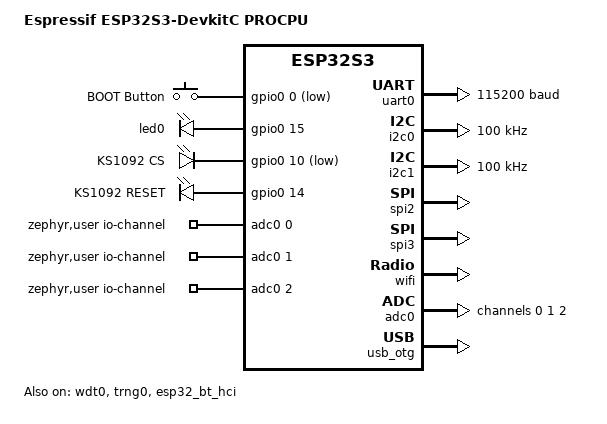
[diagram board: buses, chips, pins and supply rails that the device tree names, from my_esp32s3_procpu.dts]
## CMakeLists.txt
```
# SPDX-License-Identifier: Apache-2.0

cmake_minimum_required(VERSION 3.30.0)

# 指定自定义板子的搜索路径为当前应用目录下的 boards/
set(BOARD_ROOT ${CMAKE_CURRENT_SOURCE_DIR})

find_package(Zephyr REQUIRED HINTS $ENV{ZEPHYR_BASE})
project(bioelectrical)

target_sources(app PRIVATE
	src/main.c
	src/ble.c
	src/uart.c
	src/myspi.c
	src/KS1092.c
	src/iir_filter.c
	src/ksfilter.c
	src/heart_rate.c
	src/lvbo.c
	src/kalman_filter.c
	src/protocol_crc.c
)
```

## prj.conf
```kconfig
# KS1092 ECG application — Zephyr configuration
#
# Hardware drivers
CONFIG_GPIO=y
CONFIG_SPI=y
CONFIG_ADC=y
CONFIG_SERIAL=y
CONFIG_UART_CONSOLE=y

# Bluetooth (LE peripheral, ESP32-S3 controller)
CONFIG_BT=y
CONFIG_BT_PERIPHERAL=y
CONFIG_BT_DEVICE_NAME="BLE_EEG"
CONFIG_BT_MAX_CONN=1
CONFIG_BT_BUF_ACL_TX_SIZE=251

# 23 字节数据帧需要 ATT MTU >= 26（23 + 3 字节协议头）。
# 默认 RX/TX MTU 只有 23，必须调大并启用连接后自动 MTU 协商，
# 否则 ble_send_frame 会因 MTU 不足而拒绝发送（上位机无波形）。
CONFIG_BT_GATT_CLIENT=y
CONFIG_BT_GATT_AUTO_UPDATE_MTU=y
CONFIG_BT_L2CAP_TX_MTU=65
CONFIG_BT_BUF_ACL_RX_SIZE=70

# Logging
CONFIG_LOG=y
CONFIG_LOG_DEFAULT_LEVEL=3

# C library features (double/float printf, math)
CONFIG_NEWLIB_LIBC=y
CONFIG_FPU=y

# Heap (ESP32 BT controller needs extra memory pool)
CONFIG_HEAP_MEM_POOL_SIZE=40960
```

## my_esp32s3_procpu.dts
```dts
/*
 * Copyright (c) 2024-2025 Espressif Systems (Shanghai) Co., Ltd.
 *
 * SPDX-License-Identifier: Apache-2.0
 */
/dts-v1/;

#include <espressif/esp32s3/esp32s3_wroom_n8.dtsi>
#include <zephyr/dt-bindings/input/input-event-codes.h>
#include <zephyr/dt-bindings/input/esp32-touch-sensor-input.h>
#include <espressif/partitions_0x0_amp.dtsi>
#include "my_esp32s3-pinctrl.dtsi"

/ {
	model = "Espressif ESP32S3-DevkitC PROCPU";
	compatible = "espressif,esp32s3";

	aliases {
		i2c-0 = &i2c0;
		watchdog0 = &wdt0;
		uart-0 = &uart0;
		sw0 = &button0;
		led0 = &led0;
		ks1092-cs = &ks1092_cs;
		ks1092-reset = &ks1092_reset;
	};

	chosen {
		zephyr,sram = &sram1;
		/*
		 * 日志输出走物理 UART0(GPIO43/44)，即板子的 UART 串口；
		 * 与上位机数据透传共用同一口（原 ESP-IDF 版即如此）。
		 * 注：诊断时插 UART 口即可看日志。
		 */
		zephyr,console = &uart0;
		zephyr,shell-uart = &uart0;
		zephyr,flash = &flash0;
		zephyr,code-partition = &slot0_partition;
		zephyr,bt-hci = &esp32_bt_hci;
	};

	buttons {
		compatible = "gpio-keys";

		button0: button_0 {
			gpios = <&gpio0 0 (GPIO_PULL_UP | GPIO_ACTIVE_LOW)>;
			label = "BOOT Button";
			zephyr,code = <INPUT_KEY_0>;
		};
	};
	leds {
		compatible = "gpio-leds";

		led0: led_0 {
			gpios = <&gpio0 15 GPIO_ACTIVE_HIGH>;
		};
	};

	/*
	 * KS1092 生物电采集芯片的板级硬件定义。
	 *   CS    = GPIO10（低电平有效，应用手动控制）
	 *   RESET = GPIO14（高电平有效）
	 */
	ks1092_gpios {
		compatible = "gpio-leds";

		ks1092_cs: ks1092_cs_0 {
			gpios = <&gpio0 10 GPIO_ACTIVE_LOW>;
			label = "KS1092 CS";
		};

		ks1092_reset: ks1092_reset_0 {
			gpios = <&gpio0 14 GPIO_ACTIVE_HIGH>;
			label = "KS1092 RESET";
		};
	};

	/*
	 * 应用取用的 ADC 通道清单（SAR ADC1 = adc0）。
	 *   idx0 = CH1 (GPIO1), idx1 = CH2 (GPIO2), idx2 = 电池 (GPIO3)
	 */
	zephyr,user {
		io-channels = <&adc0 0>, <&adc0 1>, <&adc0 2>;
	};
};

&usb_serial {
	status = "disabled";
};

&uart0 {
	status = "okay";
	current-speed = <115200>;
	pinctrl-0 = <&uart0_default>;
	pinctrl-names = "default";
};

&gpio0 {
	status = "okay";
};

&gpio1 {
	status = "okay";
};

&touch {
	debounce-interval-ms = <30>;
	href-microvolt = <2700000>;
	lref-microvolt = <500000>;
	href-atten-microvolt = <1000000>;
	filter-mode = <ESP32_TOUCH_FILTER_MODE_IIR_16>;
	filter-debounce-cnt = <1>;
	filter-noise-thr = <ESP32_TOUCH_FILTER_NOISE_THR_4_8TH>;
	filter-jitter-step = <4>;
	filter-smooth-level = <ESP32_TOUCH_FILTER_SMOOTH_MODE_IIR_2>;
};

&i2c0 {
	clock-frequency = <I2C_BITRATE_STANDARD>;
	pinctrl-0 = <&i2c0_default>;
	pinctrl-names = "default";
};

&i2c1 {
	clock-frequency = <I2C_BITRATE_STANDARD>;
	pinctrl-0 = <&i2c1_default>;
	pinctrl-names = "default";
};

&i2s0 {
	pinctrl-0 = <&i2s0_default>;
	pinctrl-names = "default";
};

&i2s1 {
	pinctrl-0 = <&i2s1_default>;
	pinctrl-names = "default";
};

&spi2 {
	#address-cells = <1>;
	#size-cells = <0>;
	status = "okay";
	pinctrl-0 = <&spim2_default>;
	pinctrl-names = "default";
};

&spi3 {
	#address-cells = <1>;
	#size-cells = <0>;
	status = "okay";
	pinctrl-0 = <&spim3_default>;
	pinctrl-names = "default";
};

&twai {
	pinctrl-0 = <&twai_default>;
	pinctrl-names = "default";
};

&timer0 {
	status = "disabled";
};

&timer1 {
	status = "disabled";
};

&timer2 {
	status = "disabled";
};

&timer3 {
	status = "disabled";
};

&wdt0 {
	status = "okay";
};

&trng0 {
	status = "okay";
};

&esp32_bt_hci {
	status = "okay";
};

&wifi {
	status = "okay";
};

/*
 * SAR ADC1（adc0）三通道，增益（衰减）与 ESP-IDF 版一致：
 *   ADC_ATTEN_DB_6  -> ADC_GAIN_1_2  （CH1/CH2 信号通道）
 *   ADC_ATTEN_DB_12 -> ADC_GAIN_1_4  （电池通道）
 */
&adc0 {
	status = "okay";
	#address-cells = <1>;
	#size-cells = <0>;

	channel@0 {
		reg = <0>;
		zephyr,gain = "ADC_GAIN_1_2";
		zephyr,reference = "ADC_REF_INTERNAL";
		zephyr,acquisition-time = <ADC_ACQ_TIME_DEFAULT>;
		zephyr,resolution = <12>;
	};

	channel@1 {
		reg = <1>;
		zephyr,gain = "ADC_GAIN_1_2";
		zephyr,reference = "ADC_REF_INTERNAL";
		zephyr,acquisition-time = <ADC_ACQ_TIME_DEFAULT>;
		zephyr,resolution = <12>;
	};

	channel@2 {
		reg = <2>;
		zephyr,gain = "ADC_GAIN_1_4";
		zephyr,reference = "ADC_REF_INTERNAL";
		zephyr,acquisition-time = <ADC_ACQ_TIME_DEFAULT>;
		zephyr,resolution = <12>;
	};
};

zephyr_udc0: &usb_otg {
	status = "okay";
};

zephyr_uhc0: &usb_otg {
	status = "okay";
};
```

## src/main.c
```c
#include <stdio.h>
#include <stdbool.h>
#include <stdint.h>
#include <limits.h>
#include <string.h>

#include <zephyr/kernel.h>
#include <zephyr/drivers/adc.h>
#include <zephyr/drivers/gpio.h>
#include <zephyr/logging/log.h>

#include "KS1092.h"
#include "ble.h"
#include "uart.h"
#include "heart_rate.h"
#include "iir_filter.h"
#include "ksfilter.h"
#include "lvbo.h"

LOG_MODULE_REGISTER(main, LOG_LEVEL_INF);

#define KS1092_CH1_CONFIG 0x20
#define KS1092_CH2_CONFIG 0x00
#define KS1092_POST_INIT_DELAY_MS 800

/* ADC1 channels: VO1 -> GPIO1/CH0, VO2 -> GPIO2/CH1, battery -> GPIO3/CH2. */
#define ADC_CH1 0
#define ADC_CH2 1
#define ADC_BATT 2
#define ADC_SIGNAL_OVERSAMPLE_COUNT 6
#define ADC_SIGNAL_OVERSAMPLE_FAST_COUNT 2
#define ADC_BATT_OVERSAMPLE_COUNT 4
#define ADC_SETTLE_DISCARD_COUNT 1
#define ADC_RAW_CLIP_LOW 20
#define ADC_RAW_CLIP_HIGH 4075
#define ADC_RAW_MAX 4095
#define SAMPLE_RATE_HZ 500
#define SEND_RAW_ADC_FOR_DEBUG 0
#define ECG_POST_SMOOTH_ENABLE 1
#define BATTERY_SAMPLE_INTERVAL_MS 1000
#define SAMPLE_STATS_INTERVAL_MS 5000
#define SAMPLE_TRANSPORT_QUEUE_LEN 64
#define SAMPLE_TASK_PRIORITY 10
#define TRANSPORT_TASK_PRIORITY 4

#define LO_WINDOW 50
#define LDF_LEAD_OFF_THRESHOLD_DB 35

#define SAMPLE_THREAD_STACK_SIZE 16384
#define TRANSPORT_THREAD_STACK_SIZE 4096

static volatile bool device_enabled = true;
static volatile uint8_t ch1_filter_enabled = 1;
static volatile uint8_t ch2_filter_enabled = 1;
static volatile uint8_t current_ch1_config = KS1092_CH1_CONFIG;
static volatile uint8_t current_ch2_config = KS1092_CH2_CONFIG;
static volatile uint32_t s_filter_generation = 0;

/* 开机/每次新连接后的第一条命令强制执行并重写KS寄存器：
 * 设备重置后芯片通道2默认是关闭的，必须收到一次寄存器写入才会打开；
 * 同一连接内后续重复的相同命令（保活）仍按需跳过，避免波形抖动。 */
static volatile bool s_force_apply_next_cmd = true;

void main_force_next_cmd(void)
{
	s_force_apply_next_cmd = true;
}

static const struct adc_dt_spec adc_ch1 =
	ADC_DT_SPEC_GET_BY_IDX(DT_PATH(zephyr_user), 0);
static const struct adc_dt_spec adc_ch2 =
	ADC_DT_SPEC_GET_BY_IDX(DT_PATH(zephyr_user), 1);
static const struct adc_dt_spec adc_batt =
	ADC_DT_SPEC_GET_BY_IDX(DT_PATH(zephyr_user), 2);

/* ADC 读取失败计数（用于诊断波形不稳定是否来自读取失败） */
static volatile uint32_t s_adc_err_ch1;
static volatile uint32_t s_adc_err_ch2;
static volatile uint32_t s_adc_err_batt;

static struct k_timer s_sample_timer;
static struct k_sem s_sample_sem;
static uint32_t current_sample_interval_us = 1000000 / SAMPLE_RATE_HZ;

static int avg_rate_list[5];
static int avg_rate = 0;
static int count_HR = 0;
static volatile uint8_t battery = 50;

static int lo_buf[LO_WINDOW];
static int lo_idx = 0;
static int lo_count = 0;

typedef struct {
	uint16_t ch1;
	uint16_t ch2;
	uint8_t heart_rate;
	uint8_t lead_off;
	uint8_t battery;
	uint32_t generation;
} sample_transport_item_t;

typedef struct {
	uint8_t ch1_config;
	uint8_t ch2_config;
	uint8_t ch1_filter;
	uint8_t ch2_filter;
	uint8_t enabled;
	uint32_t sample_interval_us;
	bool force_regs;
} sample_control_t;

typedef struct {
	double raw_avg;
	double mv;
	int raw_min;
	int raw_max;
	uint32_t clip_samples;
} adc_reading_t;

K_MSGQ_DEFINE(s_transport_queue, sizeof(sample_transport_item_t),
	      SAMPLE_TRANSPORT_QUEUE_LEN, 4);
K_MSGQ_DEFINE(s_control_queue, sizeof(sample_control_t), 1, 4);

K_KERNEL_STACK_DEFINE(sample_stack, SAMPLE_THREAD_STACK_SIZE);
K_KERNEL_STACK_DEFINE(transport_stack, TRANSPORT_THREAD_STACK_SIZE);
static struct k_thread sample_thread_data;
static struct k_thread transport_thread_data;

static const char *on_off_str(bool enabled)
{
	return enabled ? "ON" : "OFF";
}

static uint32_t cmd_sample_interval_us(uint8_t sample_rate_code, bool from_uart)
{
	if (from_uart) {
		switch (sample_rate_code) {
		case 0x01:
			return 4000;
		case 0x02:
			return 1000;
		case 0x00:
		default:
			return 2000;
		}
	} else {
		switch (sample_rate_code) {
		case 0x04:
			return 4000;
		case 0x01:
			return 1000;
		case 0x02:
		default:
			return 2000;
		}
	}
}

static uint32_t cmd_sample_rate_hz(uint8_t sample_rate_code, bool from_uart)
{
	return 1000000UL / cmd_sample_interval_us(sample_rate_code, from_uart);
}

static int signal_oversample_count(void)
{
	return current_sample_interval_us <= 1000
		       ? ADC_SIGNAL_OVERSAMPLE_FAST_COUNT
		       : ADC_SIGNAL_OVERSAMPLE_COUNT;
}

static const char *ks1092_ch1_gain_preset_str(uint8_t reg_value)
{
	switch (reg_value) {
	case 0x20: return "known preset: 9x * 40x = 360x";
	case 0x30: return "known preset: 9x * 60x = 540x";
	case 0x34: return "known preset: 9x * 80x = 720x";
	case 0x38: case 0x18: return "known preset: 9x * 120x = 1080x";
	case 0x3C: return "known preset: 9x * 160x = 1440x";
	case 0x22: return "known preset: 17x * 40x = 680x";
	case 0x32: return "known preset: 17x * 60x = 1020x";
	case 0x36: return "known preset: 17x * 80x = 1360x";
	case 0x3A: return "known preset: 17x * 120x = 2040x";
	case 0x3E: return "known preset: 17x * 160x = 2720x";
	default: return "custom/unknown preset; stage1 in {9x,17x}, stage2 in {40x,60x,80x,120x,160x}";
	}
}

static const char *ks1092_ch2_gain_preset_str(uint8_t reg_value)
{
	switch (reg_value) {
	case 0x00: return "known preset: 9x * 40x = 360x";
	case 0x10: return "known preset: 9x * 60x = 540x";
	case 0x14: return "known preset: 9x * 80x = 720x";
	case 0x18: return "known preset: 9x * 120x = 1080x";
	case 0x1C: return "known preset: 9x * 160x = 1440x";
	case 0x02: return "known preset: 17x * 40x = 680x";
	case 0x12: return "known preset: 17x * 60x = 1020x";
	case 0x16: return "known preset: 17x * 80x = 1360x";
	case 0x1A: return "known preset: 17x * 120x = 2040x";
	case 0x1E: return "known preset: 17x * 160x = 2720x";
	default: return "custom/unknown preset; stage1 in {9x,17x}, stage2 in {40x,60x,80x,120x,160x}";
	}
}

static void ks1092_write_channel_regs(uint8_t ch1_value, uint8_t ch2_value)
{
	KS1092_Write_Reg_Pair(ks1092_REG_ADDR_CH1SET, ch1_value,
			      ks1092_REG_ADDR_CH2SET, ch2_value);
}

static uint8_t detect_lead_off(int mv)
{
	lo_buf[lo_idx] = mv;
	lo_idx = (lo_idx + 1) % LO_WINDOW;
	if (lo_count < LO_WINDOW) {
		lo_count++;
	}

	if (lo_count < LO_WINDOW) {
		return 0;
	}

	int vmin = lo_buf[0];
	int vmax = lo_buf[0];
	for (int i = 1; i < lo_count; i++) {
		if (lo_buf[i] < vmin) vmin = lo_buf[i];
		if (lo_buf[i] > vmax) vmax = lo_buf[i];
	}

	int range = vmax - vmin;
	/* Full-scale millivolt value depends on the gain; approximate using the
	 * 1.1 V full scale with 12-bit resolution (adc_raw_to_millivolts_dt). */
	int signal_full_scale_mv = 1100;
	if (range < 20 || LDF((float)mv) < LDF_LEAD_OFF_THRESHOLD_DB) {
		return 1;
	}
	if (vmin <= 5 || vmax >= signal_full_scale_mv - 5) {
		return 1;
	}
	return 0;
}

static double ecg_post_smooth(double input, double state[2], bool *primed)
{
	if (!*primed) {
		state[0] = input;
		state[1] = input;
		*primed = true;
		return input;
	}

	double output = (input + 2.0 * state[0] + state[1]) / 4.0;
	state[1] = state[0];
	state[0] = input;
	return output;
}

static uint16_t encode_sample_voltage(double voltage)
{
	double scaled = voltage * 10000.0;
	if (scaled <= 0.0) {
		return 0;
	}
	if (scaled >= 65535.0) {
		return UINT16_MAX;
	}
	return (uint16_t)(scaled + 0.5);
}

static void sample_timer_cb(struct k_timer *timer)
{
	k_sem_give(&s_sample_sem);
}

static int read_adc_raw(const struct adc_dt_spec *spec)
{
	int16_t buf;
	struct adc_sequence seq = {
		.buffer = &buf,
		.buffer_size = sizeof(buf),
	};

	(void)adc_sequence_init_dt(spec, &seq);
	int err = adc_read_dt(spec, &seq);
	if (err < 0) {
		/* 统计 ADC 读取失败次数，用于区分"读取失败返回0"与"真实信号抖动" */
		if (spec == &adc_ch1) {
			s_adc_err_ch1++;
		} else if (spec == &adc_ch2) {
			s_adc_err_ch2++;
		} else {
			s_adc_err_batt++;
		}
		return 0;
	}
	return (int)buf;
}

static double adc_raw_to_mv(const struct adc_dt_spec *spec, int raw)
{
	/* Convert an explicit raw reading to millivolts using the channel's
	 * configured gain/reference, then scale to volts-compatible double. */
	int32_t mv = (int32_t)raw;
	int err = adc_raw_to_millivolts_dt(spec, &mv);
	if (err < 0) {
		/* Fallback: assume Vref = reference and 12-bit resolution. */
		return (double)raw * 1100.0 / ADC_RAW_MAX;
	}
	return (double)mv;
}

static void read_adc_averaged(const struct adc_dt_spec *spec,
			      int sample_count, adc_reading_t *reading)
{
	int64_t raw_sum = 0;
	int sample_count_safe = sample_count > 0 ? sample_count : 1;

	for (int i = 0; i < ADC_SETTLE_DISCARD_COUNT; i++) {
		(void)read_adc_raw(spec);
	}

	reading->raw_min = INT_MAX;
	reading->raw_max = INT_MIN;
	reading->clip_samples = 0;

	for (int i = 0; i < sample_count_safe; i++) {
		int raw = read_adc_raw(spec);
		raw_sum += raw;
		if (raw < reading->raw_min) reading->raw_min = raw;
		if (raw > reading->raw_max) reading->raw_max = raw;
		if (raw <= ADC_RAW_CLIP_LOW || raw >= ADC_RAW_CLIP_HIGH) {
			reading->clip_samples++;
		}
	}

	int64_t filtered_sum = raw_sum;
	int filtered_count = sample_count_safe;
	if (sample_count_safe >= 4) {
		filtered_sum -= reading->raw_min;
		filtered_sum -= reading->raw_max;
		filtered_count -= 2;
	}

	reading->raw_avg = (double)filtered_sum / filtered_count;
	reading->mv = adc_raw_to_mv(spec, (int)reading->raw_avg);
}

static void init_adc(void)
{
	if (!adc_is_ready_dt(&adc_ch1) || !adc_is_ready_dt(&adc_ch2) ||
	    !adc_is_ready_dt(&adc_batt)) {
		LOG_ERR("ADC controller not ready");
		return;
	}

	adc_channel_setup_dt(&adc_ch1);
	adc_channel_setup_dt(&adc_ch2);
	adc_channel_setup_dt(&adc_batt);
	LOG_INF("ADC initialized (CH1/CH2/CH_BATT)");
}

static void init_sample_timer(void)
{
	current_sample_interval_us = 1000000 / SAMPLE_RATE_HZ;
	k_timer_init(&s_sample_timer, sample_timer_cb, NULL);
	k_timer_start(&s_sample_timer,
		      K_USEC(current_sample_interval_us),
		      K_USEC(current_sample_interval_us));
}

static bool init_ks1092(void)
{
	LOG_INF("Initializing KS1092...");
	KS1092_Init();

	ks1092_write_channel_regs(KS1092_CH1_CONFIG, KS1092_CH2_CONFIG);
	k_msleep(500);

	ks1092_write_channel_regs(KS1092_CH1_CONFIG, KS1092_CH2_CONFIG);
	current_ch1_config = KS1092_CH1_CONFIG;
	current_ch2_config = KS1092_CH2_CONFIG;

	LOG_INF("KS1092 initialized OK");
	return true;
}

static void update_battery_level(void)
{
	adc_reading_t batt_reading = {0};
	read_adc_averaged(&adc_batt, ADC_BATT_OVERSAMPLE_COUNT, &batt_reading);

	double battery_v = batt_reading.mv / 1000.0;
	if (battery_v < 1.3) {
		battery = 1;
	} else if (battery_v > 1.6) {
		battery = 100;
	} else {
		battery = (uint8_t)((battery_v - 1.3) * (100.0 / (1.6 - 1.3)) + 0.5);
	}
}

static void host_cmd_received(const uint8_t *cmd, int len, bool from_uart)
{
	if (len != 6) {
		return;
	}

	LOG_INF("%s CMD: CH1=0x%02X CH2=0x%02X SR=%d F1=%d F2=%d SW=%d",
		from_uart ? "UART" : "BLE",
		cmd[0], cmd[1], cmd[2], cmd[3], cmd[4], cmd[5]);
	LOG_INF("%s CMD decode: CH1SET=0x%02X (%s), CH2SET=0x%02X (%s), SR=%luHz, CH1 filter=%s, CH2 filter=%s, device=%s",
		from_uart ? "UART" : "BLE",
		cmd[0], ks1092_ch1_gain_preset_str(cmd[0]),
		cmd[1], ks1092_ch2_gain_preset_str(cmd[1]),
		(unsigned long)cmd_sample_rate_hz(cmd[2], from_uart),
		on_off_str(cmd[3] != 0x00),
		on_off_str(cmd[4] != 0x00),
		on_off_str(cmd[5] != 0x00));

	uint32_t sample_interval_us = cmd_sample_interval_us(cmd[2], from_uart);

	/* 上位机重复命令拦截的例外：开机或新连接后的第一条命令总是强制
	 * 执行——设备重置后通道2默认关闭，需要一次真实的寄存器写入才会
	 * 打开；此时命令与固件默认配置完全相同，不豁免就会被拦截。 */
	bool force_apply = s_force_apply_next_cmd;
	s_force_apply_next_cmd = false;

	/* 上位机（尤其串口模式）会周期性重发相同设置命令作为保活。设置与
	 * 当前完全一致时直接忽略：避免每次保活都重置滤波器、重启采样定时器，
	 * 在心电数据上留下周期性毛刺（会干扰HRV分析）。volatile 变量先取快照再比。 */
	uint8_t cur_ch1 = current_ch1_config;
	uint8_t cur_ch2 = current_ch2_config;
	uint32_t cur_interval = current_sample_interval_us;
	if (!force_apply &&
	    cmd[0] == cur_ch1 &&
	    cmd[1] == cur_ch2 &&
	    (cmd[3] != 0x00) == (ch1_filter_enabled != 0) &&
	    (cmd[4] != 0x00) == (ch2_filter_enabled != 0) &&
	    (cmd[5] != 0x00) == (device_enabled != 0) &&
	    sample_interval_us == cur_interval) {
		LOG_INF("CMD identical to current config, skipped (keepalive)");
		return;
	}

	sample_control_t control = {
		.ch1_config = cmd[0],
		.ch2_config = cmd[1],
		.ch1_filter = (cmd[3] != 0x00),
		.ch2_filter = (cmd[4] != 0x00),
		.enabled = (cmd[5] != 0x00),
		.sample_interval_us = sample_interval_us,
		.force_regs = force_apply,
	};

	k_msgq_put(&s_control_queue, &control, K_NO_WAIT);
	LOG_INF("CMD queued for the sampling task");
}

void ble_on_cmd_received(const uint8_t *cmd, int len)
{
	host_cmd_received(cmd, len, false);
}

void uart_on_cmd_received(const uint8_t *cmd, int len)
{
	host_cmd_received(cmd, len, true);
}

static void transport_thread(void *arg1, void *arg2, void *arg3)
{
	(void)arg1; (void)arg2; (void)arg3;

	uint16_t ch1_buf[4] = {0};
	uint16_t ch2_buf[4] = {0};
	int sample_idx = 0;
	uint32_t ble_send_failures = 0;
	uint32_t uart_samples = 0;
	uint32_t active_generation = UINT32_MAX;
	int64_t stats_start_ms = k_uptime_get();

	while (1) {
		sample_transport_item_t item = {0};
		if (k_msgq_get(&s_transport_queue, &item, K_MSEC(20)) != 0) {
			sample_idx = 0;
			continue;
		}

		if (!device_enabled) {
			sample_idx = 0;
			continue;
		}

		if (item.generation != active_generation) {
			sample_idx = 0;
			active_generation = item.generation;
		}

		if (uart_is_connected()) {
			sample_idx = 0;
			uart_send_sample_frame(item.ch1, item.ch2, item.heart_rate);
			uart_samples++;
		} else if (ble_is_connected()) {
			ch1_buf[sample_idx] = item.ch1;
			ch2_buf[sample_idx] = item.ch2;
			sample_idx++;

			if (sample_idx == 4) {
				if (!ble_send_frame(item.battery, ch1_buf, ch2_buf,
						    item.lead_off, item.heart_rate)) {
					ble_send_failures++;
				}
				sample_idx = 0;
			}
		} else {
			sample_idx = 0;
		}

		int64_t now_ms = k_uptime_get();
		if (now_ms - stats_start_ms >= SAMPLE_STATS_INTERVAL_MS) {
			LOG_INF("Transport stats: BLE notify failures=%lu UART samples=%lu",
				(unsigned long)ble_send_failures,
				(unsigned long)uart_samples);
			ble_send_failures = 0;
			uart_samples = 0;
			stats_start_ms = now_ms;
		}
	}
}

static void sample_thread(void *arg1, void *arg2, void *arg3)
{
	(void)arg1; (void)arg2; (void)arg3;

	double filter_out1 = 0;
	double filter_out2 = 0;
	double smooth_state1[2] = {0};
	double smooth_state2[2] = {0};
	bool smooth_primed1 = false;
	bool smooth_primed2 = false;
	uint32_t missed_ticks = 0;
	uint32_t queue_drops = 0;
	uint32_t clip_count1 = 0;
	uint32_t clip_count2 = 0;
	uint32_t isolated_low_bursts1 = 0;
	uint32_t rail_low_bursts1 = 0;
	uint32_t completed_samples = 0;
	int stats_raw_min1 = INT_MAX;
	int stats_raw_max1 = INT_MIN;
	int stats_raw_min2 = INT_MAX;
	int stats_raw_max2 = INT_MIN;
	int64_t last_sample_ms = 0;
	int64_t last_battery_ms = 0;
	int64_t stats_start_ms = k_uptime_get();

	LOG_INF("sample_thread started: VO1->GPIO1/ADC1_CH0, VO2->GPIO2/ADC1_CH1");

	while (1) {
		/* Wait for a sample tick. */
		k_sem_take(&s_sample_sem, K_FOREVER);
		int64_t sample_start_ms = k_uptime_get();

		sample_control_t control = {0};
		if (k_msgq_get(&s_control_queue, &control, K_NO_WAIT) == 0) {
			/* 按需选择性应用（与ESP-IDF版保持一致）：
			 * - 未变化的通道不动它的滤波状态（波形不抖）；
			 * - 采样率未变就不重启定时器（本tick继续采样，无断点）；
			 * - 增益未变就不重写SPI寄存器；
			 * - 与当前配置完全一致的命令已在 host_cmd_received 拦截。 */
			bool rate_changed = (control.sample_interval_us != current_sample_interval_us);
			bool ch1_gain_changed = (control.ch1_config != current_ch1_config);
			bool ch2_gain_changed = (control.ch2_config != current_ch2_config);
			bool ch1_changed = ch1_gain_changed || (control.ch1_filter != ch1_filter_enabled);
			bool ch2_changed = ch2_gain_changed || (control.ch2_filter != ch2_filter_enabled);
			bool any_filter_reset = rate_changed || ch1_changed || ch2_changed;

			if (rate_changed) {
				k_timer_stop(&s_sample_timer);
				/* drain any pending semaphore */
				while (k_sem_take(&s_sample_sem, K_NO_WAIT) == 0) {
				}
			}

			if (control.force_regs || ch1_gain_changed || ch2_gain_changed) {
				/* force_regs：连接后首条命令无条件重写，确保设备重置后
				 * 通道2被重新打开（即便增益值与固件默认一致） */
				ks1092_write_channel_regs(control.ch1_config, control.ch2_config);
			}
			current_ch1_config = control.ch1_config;
			current_ch2_config = control.ch2_config;
			ch1_filter_enabled = control.ch1_filter;
			ch2_filter_enabled = control.ch2_filter;
			device_enabled = control.enabled;

			if (rate_changed) {
				current_sample_interval_us = control.sample_interval_us;
				iir_filter_set_sample_rate(current_sample_interval_us);
				ksfilter_set_sample_rate(current_sample_interval_us);
				heart_rate_set_sample_rate(current_sample_interval_us);
			}
			if (ch1_changed || rate_changed) {
				/* 通道1相关：心率和脱落检测都基于通道1 */
				iir_filter_reset();
				ksfilter_reset();
				lvbo_reset();
				smooth_primed1 = false;
				memset(avg_rate_list, 0, sizeof(avg_rate_list));
				memset(lo_buf, 0, sizeof(lo_buf));
				avg_rate = 0;
				count_HR = 0;
				lo_idx = 0;
				lo_count = 0;
			}
			if (ch2_changed || rate_changed) {
				iir1_filter_reset();
				ksfilter1_reset();
				smooth_primed2 = false;
			}
			if (any_filter_reset) {
				s_filter_generation++;
				last_sample_ms = 0;
				k_msgq_purge(&s_transport_queue);
			}

			if (rate_changed) {
				k_timer_start(&s_sample_timer,
					      K_USEC(current_sample_interval_us),
					      K_USEC(current_sample_interval_us));
				LOG_INF("CMD applied (rate %luHz): filter1=%s filter2=%s device=%s",
					(unsigned long)(1000000UL / current_sample_interval_us),
					on_off_str(ch1_filter_enabled != 0),
					on_off_str(ch2_filter_enabled != 0),
					on_off_str(device_enabled));
				continue; /* 等新定时器的第一个tick */
			}
			LOG_INF("CMD applied (selective): changed[rate=%d ch1=%d ch2=%d] device=%s",
				(int)rate_changed, (int)ch1_changed, (int)ch2_changed,
				on_off_str(device_enabled));
			/* 采样率未变：本tick照常继续采样，无断点 */
		}

		adc_reading_t reading1 = {0};
		adc_reading_t reading2 = {0};
		int signal_samples = signal_oversample_count();
		read_adc_averaged(&adc_ch1, signal_samples, &reading1);
		read_adc_averaged(&adc_ch2, signal_samples, &reading2);

		clip_count1 += reading1.clip_samples;
		clip_count2 += reading2.clip_samples;
		if (reading1.raw_min <= ADC_RAW_CLIP_LOW) {
			if (reading1.raw_max > ADC_RAW_CLIP_LOW + 100) {
				isolated_low_bursts1++;
			} else {
				rail_low_bursts1++;
			}
		}
		if (reading1.raw_min < stats_raw_min1) stats_raw_min1 = reading1.raw_min;
		if (reading1.raw_max > stats_raw_max1) stats_raw_max1 = reading1.raw_max;
		if (reading2.raw_min < stats_raw_min2) stats_raw_min2 = reading2.raw_min;
		if (reading2.raw_max > stats_raw_max2) stats_raw_max2 = reading2.raw_max;

		double ad_v1 = reading1.mv / 1000.0;
		double ad_v2 = reading2.mv / 1000.0;

#if SEND_RAW_ADC_FOR_DEBUG
		filter_out1 = ad_v1;
		filter_out2 = ad_v2;
#else
		if (ch1_filter_enabled) {
			filter_out1 = filter(IIR_Filter1_All(ad_v1)) + 0.9;
		} else {
			filter_out1 = ad_v1;
		}

		if (ch2_filter_enabled) {
			filter_out2 = filter1(IIR1_Filter1_All(ad_v2)) + 0.9;
		} else {
			filter_out2 = ad_v2;
		}
#endif

#if ECG_POST_SMOOTH_ENABLE
		if (ch1_filter_enabled) {
			filter_out1 = ecg_post_smooth(filter_out1, smooth_state1, &smooth_primed1);
		} else {
			smooth_primed1 = false;
		}

		if (ch2_filter_enabled) {
			filter_out2 = ecg_post_smooth(filter_out2, smooth_state2, &smooth_primed2);
		} else {
			smooth_primed2 = false;
		}
#endif

		int now_rate = get_heart_rate((float)(filter_out1 * 1000.0));
		count_HR++;
		int heart_rate_window = (int)(1000000UL / current_sample_interval_us);
		if (count_HR >= heart_rate_window) {
			avg_rate_list[0] = avg_rate_list[1];
			avg_rate_list[1] = avg_rate_list[2];
			avg_rate_list[2] = avg_rate_list[3];
			avg_rate_list[3] = avg_rate_list[4];
			avg_rate_list[4] = now_rate;
			count_HR = 0;
			avg_rate = 0;
			for (int i = 0; i < 5; i++) {
				avg_rate += avg_rate_list[i];
			}
			avg_rate /= 5;
		}

		uint8_t lead_off = detect_lead_off((int)(reading1.mv + 0.5));

		int64_t now_ms = k_uptime_get();
		if (last_battery_ms == 0 ||
		    now_ms - last_battery_ms >= BATTERY_SAMPLE_INTERVAL_MS) {
			update_battery_level();
			last_battery_ms = now_ms;
		}

		if (device_enabled && (uart_is_connected() || ble_is_connected())) {
			sample_transport_item_t item = {
				.ch1 = encode_sample_voltage(filter_out1),
				.ch2 = encode_sample_voltage(filter_out2),
				.heart_rate = (uint8_t)avg_rate,
				.lead_off = lead_off,
				.battery = battery,
				.generation = s_filter_generation,
			};
			if (k_msgq_put(&s_transport_queue, &item, K_NO_WAIT) != 0) {
				queue_drops++;
			}
		}

		completed_samples++;

		now_ms = k_uptime_get();
		if (now_ms - stats_start_ms >= SAMPLE_STATS_INTERVAL_MS) {
			LOG_INF("Sample stats: done=%lu missed=%lu queue_drop=%lu clip1=%lu clip2=%lu low_outlier1=%lu low_rail1=%lu raw1=%d..%d raw2=%d..%d cfg=0x%02X/0x%02X gen=%lu adc_err1=%lu adc_err2=%lu",
				(unsigned long)completed_samples,
				(unsigned long)missed_ticks,
				(unsigned long)queue_drops,
				(unsigned long)clip_count1,
				(unsigned long)clip_count2,
				(unsigned long)isolated_low_bursts1,
				(unsigned long)rail_low_bursts1,
				stats_raw_min1, stats_raw_max1,
				stats_raw_min2, stats_raw_max2,
				(unsigned int)current_ch1_config,
				(unsigned int)current_ch2_config,
				(unsigned long)s_filter_generation,
				(unsigned long)s_adc_err_ch1,
				(unsigned long)s_adc_err_ch2);
			ble_dump_state();

			missed_ticks = 0;
			queue_drops = 0;
			clip_count1 = 0;
			clip_count2 = 0;
			isolated_low_bursts1 = 0;
			rail_low_bursts1 = 0;
			completed_samples = 0;
			stats_raw_min1 = INT_MAX;
			stats_raw_max1 = INT_MIN;
			stats_raw_min2 = INT_MAX;
			stats_raw_max2 = INT_MIN;
			stats_start_ms = now_ms;
		}

		(void)last_sample_ms;
		(void)sample_start_ms;
	}
}

int main(void)
{
	LOG_INF("System start");
	LOG_INF("ADC samples KS1092 analog outputs; BLE receives commands; SPI writes KS1092 registers");
	LOG_INF("Pins: SPI MOSI=GPIO%d MISO=GPIO%d SCK=GPIO%d CS=GPIO%d; ADC CH1=GPIO1/ADC%d CH2=GPIO2/ADC%d",
		SPI1_MOSI_PIN, SPI1_MISO_PIN, SPI1_SCK_PIN, 10, ADC_CH1, ADC_CH2);

	init_adc();

	if (!init_ks1092()) {
		LOG_ERR("KS1092 SPI control init failed, continuing ADC/BLE for debug");
	}

	k_msleep(KS1092_POST_INIT_DELAY_MS);

	iir_filter_set_sample_rate(current_sample_interval_us);
	ksfilter_set_sample_rate(current_sample_interval_us);
	heart_rate_set_sample_rate(current_sample_interval_us);

	k_sem_init(&s_sample_sem, 0, K_SEM_MAX_LIMIT);

	ble_init();
	uart_transport_init();

	LOG_INF("Sampling at %d Hz, ADC channels %d and %d", SAMPLE_RATE_HZ, ADC_CH1, ADC_CH2);

	k_thread_create(&transport_thread_data, transport_stack,
			K_KERNEL_STACK_SIZEOF(transport_stack),
			transport_thread, NULL, NULL, NULL,
			TRANSPORT_TASK_PRIORITY, 0, K_NO_WAIT);
	k_thread_create(&sample_thread_data, sample_stack,
			K_KERNEL_STACK_SIZEOF(sample_stack),
			sample_thread, NULL, NULL, NULL,
			SAMPLE_TASK_PRIORITY, 0, K_NO_WAIT);

	init_sample_timer();
	LOG_INF("Sampling at %d Hz, BLE advertising as 'BLE_EEG'", SAMPLE_RATE_HZ);

	return 0;
}
```

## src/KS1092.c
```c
//////////////////////////////////////////////////////////////////////////////////
// KS108X/KS109X SPI test
// Date: 2021/11/27
// Version: V2.0 (Zephyr port)
// Copyright(C) Kingsense Electronics
// www.ks-chip.com
// All rights reserved
//////////////////////////////////////////////////////////////////////////////////

#include "KS1092.h"

#include <zephyr/kernel.h>
#include <zephyr/logging/log.h>

LOG_MODULE_REGISTER(ks1092, LOG_LEVEL_INF);

#define KS1092_RESET_PULSE_MS 20
#define KS1092_INTER_REG_DELAY_MS 2
#define KS1092_REG_WRITE_SETTLE_MS 20
#define KS1092_INIT_SETTLE_MS 500
#define KS1092_RESET_HIGH_SETTLE_MS 20

/* The gpio-leds binding provides the "gpios" property; use GPIO_DT_SPEC_GET
 * with the aliased nodes. */
static const struct gpio_dt_spec ks1092_cs =
	GPIO_DT_SPEC_GET(KS1092_CS_NODE, gpios);
static const struct gpio_dt_spec ks1092_reset =
	GPIO_DT_SPEC_GET(KS1092_RESET_NODE, gpios);

static void KS1092_Reset_Pulse(void)
{
	gpio_pin_set_dt(&ks1092_reset, 0);
	k_msleep(KS1092_RESET_PULSE_MS);
	gpio_pin_set_dt(&ks1092_reset, 1);
	k_msleep(KS1092_RESET_HIGH_SETTLE_MS);
}

static void KS1092_Write_Reg_Raw(uint8_t reg_address, uint8_t data_to_write)
{
	uint8_t tx_buf[3] = {
		(uint8_t)(0x20 | reg_address),
		0x00,
		data_to_write,
	};

	KS1092_CS_Enable();
	SPI1_Transfer(tx_buf, NULL, sizeof(tx_buf));
	KS1092_CS_Disable();
}

void KS1092_Init(void)
{
	if (!gpio_is_ready_dt(&ks1092_cs) || !gpio_is_ready_dt(&ks1092_reset)) {
		LOG_ERR("KS1092 GPIO not ready");
		return;
	}

	gpio_pin_configure_dt(&ks1092_cs, GPIO_OUTPUT_INACTIVE);
	gpio_pin_configure_dt(&ks1092_reset, GPIO_OUTPUT_INACTIVE);

	KS1092_CS_Disable();
	KS1092_Reset_Pulse();

	SPI1_Init();
	k_msleep(KS1092_INIT_SETTLE_MS);
}

void KS1092_CS_Enable(void)
{
	gpio_pin_set_dt(&ks1092_cs, 1);
}

void KS1092_CS_Disable(void)
{
	gpio_pin_set_dt(&ks1092_cs, 0);
}

void KS1092_Write_Reg(uint8_t reg_address, uint8_t data_to_write)
{
	KS1092_Write_Reg_Raw(reg_address, data_to_write);
	k_msleep(KS1092_REG_WRITE_SETTLE_MS);
}

void KS1092_Write_Reg_Pair(uint8_t reg1, uint8_t value1, uint8_t reg2, uint8_t value2)
{
	KS1092_Write_Reg_Raw(reg1, value1);
	k_msleep(KS1092_INTER_REG_DELAY_MS);
	KS1092_Write_Reg_Raw(reg2, value2);
	k_msleep(KS1092_REG_WRITE_SETTLE_MS);
}

uint8_t KS1092_Read_Reg(uint8_t reg_address)
{
	uint8_t tx_buf[3] = {
		(uint8_t)(0x10 | reg_address),
		0x00,
		0xDD,
	};
	uint8_t rx_buf[3] = {0};

	KS1092_CS_Enable();
	SPI1_Transfer(tx_buf, rx_buf, sizeof(tx_buf));
	KS1092_CS_Disable();

	return rx_buf[2];
}
```

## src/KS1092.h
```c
#ifndef KS1092_H
#define KS1092_H

#include <stdint.h>
#include <zephyr/drivers/gpio.h>

#include "myspi.h"

/*
 * KS1092 chip-select and reset pins come from the devicetree aliases
 * ks1092-cs / ks1092-reset defined in app.overlay.
 *
 * Physical mapping (matches the ESP-IDF project):
 *   CS    = GPIO10
 *   RESET = GPIO14
 */
#define KS1092_CS_NODE     DT_ALIAS(ks1092_cs)
#define KS1092_RESET_NODE  DT_ALIAS(ks1092_reset)

#define ks1092_REG_ADDR_CH1SET  0x00
#define ks1092_REG_ADDR_CH2SET  0x01

void KS1092_Init(void);
void KS1092_CS_Enable(void);
void KS1092_CS_Disable(void);
void KS1092_Write_Reg(uint8_t reg_address, uint8_t data_to_write);
void KS1092_Write_Reg_Pair(uint8_t reg1, uint8_t value1, uint8_t reg2, uint8_t value2);
uint8_t KS1092_Read_Reg(uint8_t reg_address);

#endif /* KS1092_H */
```

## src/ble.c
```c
/*
 * BLE transport layer (Zephyr native Bluetooth Host port).
 *
 * This is a port of the ESP-IDF NimBLE implementation to the Zephyr native
 * Bluetooth Host API. The on-air behaviour is identical:
 *
 *   Service  : 8653000a-43e6-47b7-9cb0-5fc21d4ae340
 *   Data     : 8653000b-43e6-47b7-9cb0-5fc21d4ae340  (Notify)
 *   Command  : 8653000c-43e6-47b7-9cb0-5fc21d4ae340  (Write / Write-no-rsp)
 *   Device name: 'BLE_EEG'
 */

#include "ble.h"
#include "uart.h"
#include "protocol_crc.h"

#include <string.h>
#include <zephyr/kernel.h>
#include <zephyr/bluetooth/bluetooth.h>
#include <zephyr/bluetooth/conn.h>
#include <zephyr/bluetooth/gatt.h>
#include <zephyr/bluetooth/uuid.h>
#include <zephyr/logging/log.h>

LOG_MODULE_REGISTER(ble, LOG_LEVEL_INF);

/* ------------------------------------------------------------------ */
/* UUIDs. 128-bit vendor UUIDs matching the nRF52832 host protocol.    */
/* ------------------------------------------------------------------ */

/* Service: 8653000a-43e6-47b7-9cb0-5fc21d4ae340 */
#define SVC_UUID  BT_UUID_DECLARE_128(BT_UUID_128_ENCODE(0x8653000a, 0x43e6, 0x47b7, 0x9cb0, 0x5fc21d4ae340))
/* Data (Notify): 8653000b-43e6-47b7-9cb0-5fc21d4ae340 */
#define DATA_UUID BT_UUID_DECLARE_128(BT_UUID_128_ENCODE(0x8653000b, 0x43e6, 0x47b7, 0x9cb0, 0x5fc21d4ae340))
/* Command (Write): 8653000c-43e6-47b7-9cb0-5fc21d4ae340 */
#define CMD_UUID  BT_UUID_DECLARE_128(BT_UUID_128_ENCODE(0x8653000c, 0x43e6, 0x47b7, 0x9cb0, 0x5fc21d4ae340))

#define BLE_FRAME_LEN 23
#define BLE_FRAME_MIN_ATT_MTU (BLE_FRAME_LEN + 3)

/* Connection parameters (units: interval *1.25ms, timeout *10ms). */
#define BLE_CONN_ITVL_MIN 6
#define BLE_CONN_ITVL_MAX 12
#define BLE_CONN_LATENCY 0
#define BLE_CONN_SUPERVISION_TIMEOUT 400

static struct bt_conn *default_conn;
static volatile bool is_connected;
static volatile bool notify_enabled;

extern void ble_on_cmd_received(const uint8_t *cmd, int len);
extern void main_force_next_cmd(void);

/* ------------------------------------------------------------------ */
/* GATT callbacks                                                     */
/* ------------------------------------------------------------------ */

static ssize_t cmd_chr_write(struct bt_conn *conn,
			     const struct bt_gatt_attr *attr,
			     const void *buf, uint16_t len,
			     uint16_t offset, uint8_t flags)
{
	uint8_t cmd[6];

	if (offset != 0) {
		return BT_GATT_ERR(BT_ATT_ERR_INVALID_OFFSET);
	}

	if (len == 6) {
		memcpy(cmd, buf, 6);
		LOG_INF("BLE RX raw (6 bytes):");
		LOG_HEXDUMP_INF(cmd, 6, "BLE RX");
		ble_on_cmd_received(cmd, 6);
	} else {
		LOG_WRN("CMD: got %d bytes (expect 6)", len);
	}

	return len;
}

static ssize_t data_chr_write(struct bt_conn *conn,
			      const struct bt_gatt_attr *attr,
			      const void *buf, uint16_t len,
			      uint16_t offset, uint8_t flags)
{
	if (offset != 0) {
		return BT_GATT_ERR(BT_ATT_ERR_INVALID_OFFSET);
	}
	LOG_INF("DATA CHR WRITE (%d bytes)", len);
	LOG_HEXDUMP_INF(buf, len, "DATA WRITE");
	return len;
}

static void data_chr_ccc_changed(const struct bt_gatt_attr *attr, uint16_t value)
{
	notify_enabled = (value == BT_GATT_CCC_NOTIFY);
	LOG_INF("SUBSCRIBE: notify_enabled=%d", notify_enabled);
}

/* GATT service definition. Command characteristic is writable (with and
 * without response, to be robust to the host client), Data characteristic is
 * notifiable with a managed CCC descriptor (one per possible connection). */
BT_GATT_SERVICE_DEFINE(ble_svc,
	BT_GATT_PRIMARY_SERVICE(SVC_UUID),
	BT_GATT_CHARACTERISTIC(CMD_UUID,
			       BT_GATT_CHRC_WRITE | BT_GATT_CHRC_WRITE_WITHOUT_RESP,
			       BT_GATT_PERM_WRITE,
			       NULL, cmd_chr_write, NULL),
	BT_GATT_CHARACTERISTIC(DATA_UUID,
			       BT_GATT_CHRC_NOTIFY,
			       BT_GATT_PERM_NONE,
			       NULL, data_chr_write, NULL),
	BT_GATT_CCC(data_chr_ccc_changed, BT_GATT_PERM_READ | BT_GATT_PERM_WRITE),
);

/* ------------------------------------------------------------------ */
/* Connection callbacks                                               */
/* ------------------------------------------------------------------ */

static void on_connected(struct bt_conn *conn, uint8_t err)
{
	if (err) {
		LOG_ERR("CONNECT failed: err=%d", err);
		return;
	}

	if (uart_is_connected()) {
		LOG_WRN("CONNECT rejected: UART link is active");
		bt_conn_disconnect(conn, BT_HCI_ERR_REMOTE_USER_TERM_CONN);
		return;
	}

	default_conn = bt_conn_ref(conn);
	is_connected = true;
	main_force_next_cmd(); /* 新连接的第一条命令强制执行，打开通道2 */
	notify_enabled = false;
	LOG_INF("CONNECT [OK]");

	/* Request preferred connection parameters. */
	struct bt_le_conn_param param = BT_LE_CONN_PARAM_INIT(
		BLE_CONN_ITVL_MIN, BLE_CONN_ITVL_MAX,
		BLE_CONN_LATENCY, BLE_CONN_SUPERVISION_TIMEOUT);
	int rc = bt_conn_le_param_update(conn, &param);
	if (rc) {
		LOG_WRN("conn param update request failed: rc=%d", rc);
	}
}

static void on_disconnected(struct bt_conn *conn, uint8_t reason)
{
	LOG_INF("DISCONNECT reason=%d", reason);
	is_connected = false;
	notify_enabled = false;

	if (default_conn) {
		bt_conn_unref(default_conn);
		default_conn = NULL;
	}

	ble_advertise_restart();
}

static struct bt_conn_cb conn_callbacks = {
	.connected = on_connected,
	.disconnected = on_disconnected,
};

/* 记录协商到的 ATT MTU，用于诊断（>=26 才能发 23 字节通知） */
static volatile uint16_t g_att_mtu_rx;

static void on_att_mtu_updated(struct bt_conn *conn, uint16_t tx, uint16_t rx)
{
	g_att_mtu_rx = rx;
	LOG_INF("MTU updated: tx=%d rx=%d (need >= 26 for notify)", tx, rx);
}

static struct bt_gatt_cb gatt_callbacks = {
	.att_mtu_updated = on_att_mtu_updated,
};

/* ------------------------------------------------------------------ */
/* Advertising                                                        */
/* ------------------------------------------------------------------ */

static const struct bt_data ad_data[] = {
	BT_DATA_BYTES(BT_DATA_FLAGS, (BT_LE_AD_GENERAL | BT_LE_AD_NO_BREDR)),
	BT_DATA_BYTES(BT_DATA_UUID128_ALL,
		      BT_UUID_128_ENCODE(0x8653000a, 0x43e6, 0x47b7, 0x9cb0, 0x5fc21d4ae340)),
};

/* 设备名放进"扫描响应"（scan response），与原版 NimBLE 一致：
 * 原版用 ble_gap_adv_rsp_set_fields 把 "BLE_EEG" 放到 rsp，主广播只放 flags+UUID。 */
static const struct bt_data sd_data[] = {
	BT_DATA(BT_DATA_NAME_COMPLETE,
		CONFIG_BT_DEVICE_NAME,
		sizeof(CONFIG_BT_DEVICE_NAME) - 1),
};

static void ble_advertise(void)
{
	/* Connectable, general-discoverable advertising. The controller stops
	 * advertising automatically when a connection is established; we restart
	 * it after a disconnect (see on_disconnected). */
	int rc = bt_le_adv_start(BT_LE_ADV_CONN_FAST_2,
				 ad_data, ARRAY_SIZE(ad_data),
				 sd_data, ARRAY_SIZE(sd_data));
	if (rc && rc != -EALREADY) {
		LOG_WRN("bt_le_adv_start failed: rc=%d", rc);
	}
}

static void ble_on_ready(int err)
{
	if (err) {
		LOG_ERR("BT init failed: err=%d", err);
		return;
	}
	LOG_INF("BLE initialized (ready), advertising as 'BLE_EEG'");
	ble_advertise();
}

/* ------------------------------------------------------------------ */
/* Public API                                                         */
/* ------------------------------------------------------------------ */

void ble_init(void)
{
	bt_conn_cb_register(&conn_callbacks);
	bt_gatt_cb_register(&gatt_callbacks);

	int rc = bt_enable(ble_on_ready);
	if (rc) {
		LOG_ERR("bt_enable failed: rc=%d", rc);
	}
}

bool ble_is_connected(void)
{
	return is_connected;
}

void ble_stop_advertising(void)
{
	int rc = bt_le_adv_stop();
	if (rc && rc != -EALREADY) {
		LOG_WRN("bt_le_adv_stop failed: rc=%d", rc);
	}
}

void ble_advertise_restart(void)
{
	if (!is_connected && !uart_is_connected()) {
		ble_advertise();
	}
}

bool ble_send_frame(uint8_t battery,
		    const uint16_t ch1[4], const uint16_t ch2[4],
		    uint8_t lead_off, uint8_t heart_rate)
{
	uint8_t buf[BLE_FRAME_LEN];

	buf[0] = 0xFF;
	buf[1] = 0x17;
	buf[2] = 0x2E;
	buf[3] = battery;
	for (int i = 0; i < 4; i++) {
		buf[4 + i * 4]     = (uint8_t)(ch1[i] >> 8);
		buf[4 + i * 4 + 1] = (uint8_t)ch1[i];
		buf[4 + i * 4 + 2] = (uint8_t)(ch2[i] >> 8);
		buf[4 + i * 4 + 3] = (uint8_t)ch2[i];
	}
	buf[20] = lead_off;
	buf[21] = heart_rate;
	buf[22] = Fast_CRC_Cal8Bits(0x00, 22, buf);

	if (!is_connected || !notify_enabled) {
		return false;
	}

	/* A 23-byte notification needs ATT MTU >= 26. */
	if (bt_gatt_get_mtu(default_conn) < BLE_FRAME_MIN_ATT_MTU) {
		return false;
	}

	const struct bt_gatt_attr *data_attr =
		bt_gatt_find_by_uuid(NULL, 0, DATA_UUID);

	int rc = bt_gatt_notify(default_conn, data_attr, buf, sizeof(buf));
	if (rc) {
		LOG_WRN("notify failed: rc=%d", rc);
		return false;
	}
	return true;
}

/* 诊断：打印当前 BLE 链路状态，用于排查"上位机收不到数据"。 */
void ble_dump_state(void)
{
	uint16_t mtu = is_connected ? bt_gatt_get_mtu(default_conn) : 0;
	LOG_INF("BLE-STATE connected=%d notify=%d mtu=%d",
		is_connected ? 1 : 0,
		notify_enabled ? 1 : 0,
		mtu);
}
```

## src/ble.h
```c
#ifndef BLE_H
#define BLE_H

#include <stdint.h>
#include <stdbool.h>

void ble_init(void);
bool ble_send_frame(uint8_t battery,
                    const uint16_t ch1[4], const uint16_t ch2[4],
                    uint8_t lead_off, uint8_t heart_rate);
bool ble_is_connected(void);
void ble_stop_advertising(void);
void ble_advertise_restart(void);
void ble_dump_state(void);

#endif /* BLE_H */
```

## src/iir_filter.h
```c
#ifndef IIR_FILTER_H
#define IIR_FILTER_H

#include <stdint.h>

double IIR_50HZ(double x);
double IIR_100HZ_LPF(double x);
double IIR_Filter1_All(double x);

double IIR1_50HZ(double x);
double IIR1_100HZ_LPF(double x);
double IIR1_Filter1_All(double x);

// Configuration functions
void iir_filter_set_sample_rate(uint32_t sample_interval_us);
void iir_filter_reset(void);
void iir1_filter_reset(void);

#endif
```

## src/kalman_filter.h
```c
#ifndef KALMAN_FILTER_H
#define KALMAN_FILTER_H

typedef struct {
    double x;   // state estimate
    double P;   // estimate error covariance
    double Q;   // process noise covariance
    double R;   // measurement noise covariance
} kalman_1d_t;

void kalman_1d_init(kalman_1d_t *kf, double Q, double R);
double kalman_1d_update(kalman_1d_t *kf, double measurement);

#endif
```

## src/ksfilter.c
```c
#include "ksfilter.h"

#define HEAD_INC(var, n, max)  (var = (var + n) % max)

// Maximum buffer sizes (for 1000Hz)
#define MAX_M 20   // Max 50Hz notch window
#define MAX_Q 400  // Max baseline drift window

// Multi-rate filter parameters
// Index: 0=250Hz, 1=500Hz, 2=1000Hz
static const int M_TABLE[3] = {5, 10, 20};    // 50Hz notch window sizes
static const int Q_TABLE[3] = {100, 200, 400};  // Baseline drift window sizes

// Current filter parameters (default: 500Hz)
static int current_M = 10;
static int current_Q = 200;

// ============================================================
// Channel 1: moving-average 50Hz notch + baseline drift removal
// ============================================================

// 50Hz notch: sliding window average, then subtract
static double sum_sample = 0;
static double sample_buf[MAX_M] = {0};
static int sample_buf_head = 0;

double power_50HZ(double x)
{
    double aver = 0;
    sum_sample -= sample_buf[sample_buf_head];
    sample_buf[sample_buf_head] = x;
    sum_sample += sample_buf[sample_buf_head];
    HEAD_INC(sample_buf_head, 1, current_M);
    aver = sum_sample / (current_M / 2.0);
    return aver;
}

// Baseline drift removal: two-stage sliding window, subtract DC component
static double buf_in[MAX_Q];
static double a3[MAX_Q];
static int in_head = 0;
static int a3_head = 0;
static double sum_buf_in = 0;
static double sum_a3 = 0;
static int filter_primed = 0;

double filter(double x)
{
    double aver = 0;
    double f_data = 0;

    if (!filter_primed) {
        filter_primed = 1;
        for (int i = 0; i < current_Q; i++) {
            buf_in[i] = x;
            a3[i] = x;
        }
        sum_buf_in = x * current_Q;
        sum_a3 = x * current_Q;
        in_head = 0;
        a3_head = 0;
    }

    sum_buf_in -= buf_in[in_head];
    buf_in[in_head] = x;
    sum_buf_in += buf_in[in_head];
    HEAD_INC(in_head, 1, current_Q);
    aver = sum_buf_in / current_Q;

    sum_a3 -= a3[a3_head];
    a3[a3_head] = aver;
    sum_a3 += a3[a3_head];
    HEAD_INC(a3_head, 1, current_Q);
    aver = sum_a3 / current_Q;

    f_data = x - aver;
    return f_data;
}

double Filter_All(double x)
{
    return filter(power_50HZ(x));
}


// ============================================================
// Channel 2: independent filter states
// ============================================================

static double sum_sample1 = 0;
static double sample_buf1[MAX_M] = {0};
static int sample_buf_head1 = 0;

double power1_50HZ(double x)
{
    double aver = 0;
    sum_sample1 -= sample_buf1[sample_buf_head1];
    sample_buf1[sample_buf_head1] = x;
    sum_sample1 += sample_buf1[sample_buf_head1];
    HEAD_INC(sample_buf_head1, 1, current_M);
    aver = sum_sample1 / (current_M / 2.0);
    return aver;
}

static double buf_in1[MAX_Q];
static double a31[MAX_Q];
static int in_head1 = 0;
static int a3_head1 = 0;
static double sum_buf_in1 = 0;
static double sum_a31 = 0;
static int filter1_primed = 0;

double filter1(double x)
{
    double aver = 0;
    double f_data = 0;

    if (!filter1_primed) {
        filter1_primed = 1;
        for (int i = 0; i < current_Q; i++) {
            buf_in1[i] = x;
            a31[i] = x;
        }
        sum_buf_in1 = x * current_Q;
        sum_a31 = x * current_Q;
        in_head1 = 0;
        a3_head1 = 0;
    }

    sum_buf_in1 -= buf_in1[in_head1];
    buf_in1[in_head1] = x;
    sum_buf_in1 += buf_in1[in_head1];
    HEAD_INC(in_head1, 1, current_Q);
    aver = sum_buf_in1 / current_Q;

    sum_a31 -= a31[a3_head1];
    a31[a3_head1] = aver;
    sum_a31 += a31[a3_head1];
    HEAD_INC(a3_head1, 1, current_Q);
    aver = sum_a31 / current_Q;

    f_data = x - aver;
    return f_data;
}

double Filter1_All(double x)
{
    return filter1(power1_50HZ(x));
}


// ========== Filter configuration functions ==========

// Set sample rate and update M and Q parameters
void ksfilter_set_sample_rate(uint32_t sample_interval_us)
{
    // Map sample_interval_us to parameter index
    // 4000us = 250Hz (index 0)
    // 2000us = 500Hz (index 1)
    // 1000us = 1000Hz (index 2)
    int idx;
    if (sample_interval_us >= 3500) {
        idx = 0;  // 250Hz
    } else if (sample_interval_us >= 1500) {
        idx = 1;  // 500Hz
    } else {
        idx = 2;  // 1000Hz
    }

    current_M = M_TABLE[idx];
    current_Q = Q_TABLE[idx];
}

// Reset channel 1 filter states
void ksfilter_reset(void)
{
    int i;

    // Reset 50Hz notch filter
    sum_sample = 0.0;
    for (i = 0; i < MAX_M; i++) {
        sample_buf[i] = 0.0;
    }
    sample_buf_head = 0;

    // Reset baseline drift filter
    for (i = 0; i < MAX_Q; i++) {
        buf_in[i] = 0.0;
        a3[i] = 0.0;
    }
    in_head = 0;
    a3_head = 0;
    sum_buf_in = 0.0;
    sum_a3 = 0.0;
    filter_primed = 0;
}

// Reset channel 2 filter states
void ksfilter1_reset(void)
{
    int i;

    // Reset 50Hz notch filter
    sum_sample1 = 0.0;
    for (i = 0; i < MAX_M; i++) {
        sample_buf1[i] = 0.0;
    }
    sample_buf_head1 = 0;

    // Reset baseline drift filter
    for (i = 0; i < MAX_Q; i++) {
        buf_in1[i] = 0.0;
        a31[i] = 0.0;
    }
    in_head1 = 0;
    a3_head1 = 0;
    sum_buf_in1 = 0.0;
    sum_a31 = 0.0;
    filter1_primed = 0;
}
```

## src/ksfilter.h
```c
#ifndef KSFILTER_H
#define KSFILTER_H

#include <stdint.h>

double power_50HZ(double x);
double filter(double x);
double Filter_All(double x);

double power1_50HZ(double x);
double filter1(double x);
double Filter1_All(double x);

// Configuration functions
void ksfilter_set_sample_rate(uint32_t sample_interval_us);
void ksfilter_reset(void);
void ksfilter1_reset(void);

#endif
```

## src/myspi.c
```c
//////////////////////////////////////////////////////////////////////////////////
// KS108X/KS109X SPI test
// Date: 2021/11/27
// Version: V2.0 (Zephyr port)
// Copyright(C) Kingsense Electronics
// www.ks-chip.com
// All rights reserved
//////////////////////////////////////////////////////////////////////////////////

#include "myspi.h"

#include <string.h>
#include <zephyr/kernel.h>
#include <zephyr/device.h>
#include <zephyr/logging/log.h>

LOG_MODULE_REGISTER(myspi, LOG_LEVEL_INF);

/* The KS1092 uses manual chip-select, so we bind directly to the SPI2 bus
 * controller and drive CS with the GPIO driver (KS1092 layer). SPI mode 1
 * (CPHA=1, CPOL=0), 8-bit words, master. */
static const struct device *spi_bus = DEVICE_DT_GET(DT_NODELABEL(spi2));

static struct spi_config spi_cfg = {
	.frequency = SPI1_CLK_FREQ,
	.operation = SPI_OP_MODE_MASTER | SPI_MODE_CPHA | SPI_WORD_SET(8),
	.slave = 0,
};

void SPI1_Init(void)
{
	if (!device_is_ready(spi_bus)) {
		LOG_ERR("SPI2 bus is not ready");
		return;
	}
	LOG_INF("SPI1 initialized (SPI2, %u Hz, mode 1)", SPI1_CLK_FREQ);
}

uint8_t SPI1_ReadWriteByte(uint8_t tx_data)
{
	uint8_t rx_data = 0;
	SPI1_Transfer(&tx_data, &rx_data, 1);
	return rx_data;
}

void SPI1_Transfer(const uint8_t *tx_data, uint8_t *rx_data, size_t len)
{
	struct spi_buf tx_buf = {
		.buf = (void *)tx_data,
		.len = len,
	};
	struct spi_buf rx_buf = {
		.buf = rx_data,
		.len = len,
	};
	struct spi_buf_set tx = {
		.buffers = &tx_buf,
		.count = 1,
	};
	struct spi_buf_set rx = {
		.buffers = &rx_buf,
		.count = 1,
	};

	spi_transceive(spi_bus, &spi_cfg, &tx, &rx);
}
```

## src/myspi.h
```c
#ifndef MY_SPI_H
#define MY_SPI_H

#include <stddef.h>
#include <stdint.h>
#include <zephyr/drivers/spi.h>

/*
 * KS1092 SPI wiring (matches the ESP-IDF project):
 *   MOSI = GPIO11, MISO = GPIO13, SCLK = GPIO12 (from spim2_default pinctrl)
 *   CS   = GPIO10 (driven manually by the application)
 */
#define SPI1_MOSI_PIN   11
#define SPI1_MISO_PIN   13
#define SPI1_SCK_PIN    12

#define SPI1_CLK_FREQ   4000000

/* The SPI peripheral used is SPI2 (the "SPI1" naming is kept from the
 * original nRF reference firmware; ESP32-S3 exposes it as spi2). */
#define KS1092_SPI_NODE  DT_NODELABEL(spi2)

void SPI1_Init(void);
uint8_t SPI1_ReadWriteByte(uint8_t tx_data);
void SPI1_Transfer(const uint8_t *tx_data, uint8_t *rx_data, size_t len);

#endif /* MY_SPI_H */
```

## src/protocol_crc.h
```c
#ifndef PROTOCOL_CRC_H
#define PROTOCOL_CRC_H

#include <stdint.h>

uint8_t Fast_CRC_Cal8Bits(uint8_t crc, int size, const uint8_t *buffer);

#endif
```
